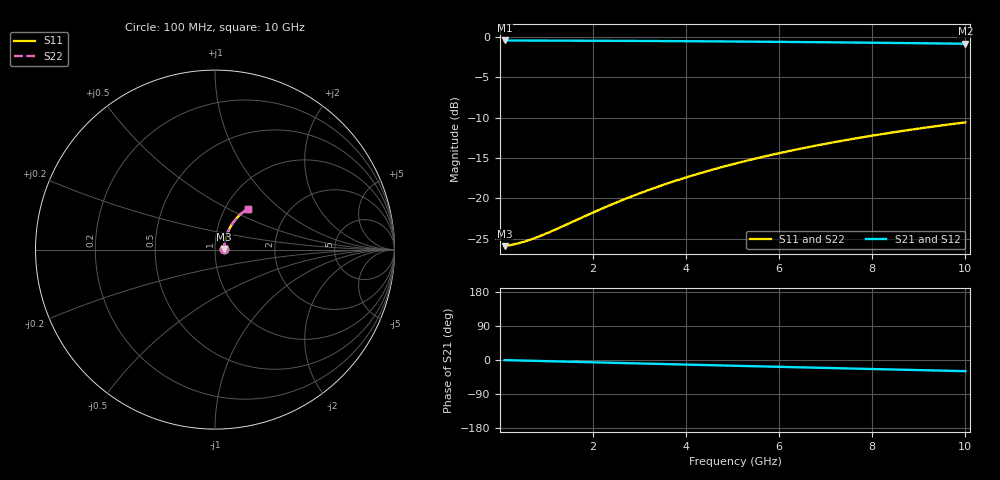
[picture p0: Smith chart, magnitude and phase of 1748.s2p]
# Hz S RI R 50.00
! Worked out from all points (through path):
!   100 points, 100 MHz to 10 GHz, reference 50 ohm
!   highest |S21| = -0.45 dB at 100 MHz (marker M1); lowest = -0.9 dB at 10 GHz (marker M2)
!   group delay of S21, straight-line fit = 8.2 ps
!   lowest |S11| = -25.9 dB at 100 MHz (marker M3), VSWR 1.11, Z = 55.3 + j0.319 ohm
!   |S11| at or under -10 dB: start of sweep to end of sweep
!   |S22| runs from -25.9 to -10.6 dB; largest |S21 - S12| = 0
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1e8  0.0504 0.00288  0.9496 -0.00504  0.9496 -0.00504  0.0504 0.00288
3e8  0.0511 0.00862  0.9489 -0.0151  0.9489 -0.0151  0.0511 0.00862
4e8  0.0514 0.0115  0.9486 -0.0201  0.9486 -0.0201  0.0514 0.0115
6e8  0.052 0.0172  0.9479 -0.0302  0.9479 -0.0302  0.052 0.0172
8e8  0.0527 0.0229  0.9472 -0.0402  0.9472 -0.0402  0.0527 0.0229
1.2e9  0.0543 0.0343  0.9454 -0.0602  0.9454 -0.0602  0.0543 0.0343
1.8e9  0.0574 0.0511  0.9418 -0.09  0.9418 -0.09  0.0574 0.0511
2.2e9  0.0601 0.0622  0.9387 -0.1098  0.9387 -0.1098  0.0601 0.0622
2.6e9  0.0631 0.0732  0.9352 -0.1294  0.9352 -0.1294  0.0631 0.0732
3e9  0.0667 0.084  0.9311 -0.1488  0.9311 -0.1488  0.0667 0.084
3.4e9  0.0706 0.0946  0.9266 -0.1681  0.9266 -0.1681  0.0706 0.0946
3.8e9  0.075 0.1051  0.9215 -0.1871  0.9215 -0.1871  0.075 0.1051
4.2e9  0.0798 0.1152  0.9159 -0.206  0.9159 -0.206  0.0798 0.1152
4.6e9  0.085 0.1252  0.9099 -0.2246  0.9099 -0.2246  0.085 0.1252
5.1e9  0.092 0.1373  0.9016 -0.2475  0.9016 -0.2475  0.092 0.1373
5.5e9  0.0981 0.1466  0.8946 -0.2655  0.8946 -0.2655  0.0981 0.1466
5.9e9  0.1045 0.1557  0.887 -0.2832  0.887 -0.2832  0.1045 0.1557
6.7e9  0.1183 0.1729  0.8708 -0.3178  0.8708 -0.3178  0.1183 0.1729
7.5e9  0.1334 0.1887  0.853 -0.351  0.853 -0.351  0.1334 0.1887
8.4e9  0.1516 0.2048  0.8312 -0.3867  0.8312 -0.3867  0.1516 0.2048
9.2e9  0.1687 0.2175  0.8106 -0.4169  0.8106 -0.4169  0.1687 0.2175
1e10  0.1866 0.2288  0.7889 -0.4455  0.7889 -0.4455  0.1866 0.2288
